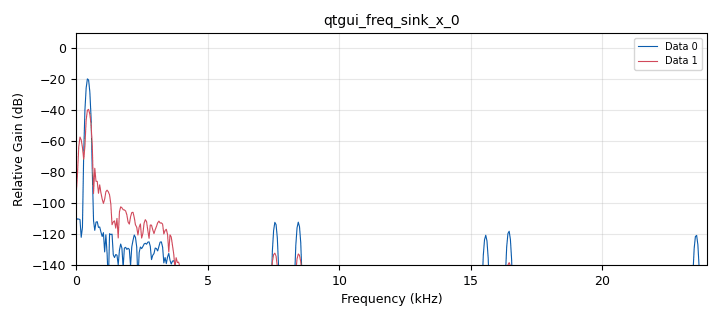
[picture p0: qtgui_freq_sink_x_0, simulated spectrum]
options:
  parameters:
    generate_options: qt_gui
    id: audiocoder
    output_language: python
    title: Not titled yet
  states: {}

blocks:
- name: f
  id: variable_qtgui_range
  parameters:
    start: '50'
    step: '1'
    stop: '1000'
    value: '440'
  states: {}
- name: samp_rate
  id: variable
  parameters:
    value: '8000'
  states: {}
- name: x
  id: variable_qtgui_range
  parameters:
    start: '0'
    step: '.01'
    stop: '1'
    value: '.5'
  states: {}
- name: analog_sig_source_x_0
  id: analog_sig_source_x
  parameters:
    amp: '20000'
    freq: f
    offset: '0'
    phase: '0'
    samp_rate: samp_rate
    type: short
    waveform: analog.GR_COS_WAVE
  states: {}
- name: audio_sink_0
  id: audio_sink
  parameters:
    num_inputs: '2'
    samp_rate: samp_rate*6
  states: {}
- name: blocks_multiply_const_vxx_0
  id: blocks_multiply_const_vxx
  parameters:
    const: 1-x
    type: float
  states: {}
- name: blocks_multiply_const_vxx_0_0
  id: blocks_multiply_const_vxx
  parameters:
    const: x
    type: float
  states: {}
- name: blocks_short_to_float_0
  id: blocks_short_to_float
  parameters:
    scale: '32767'
  states: {}
- name: blocks_short_to_float_0_0
  id: blocks_short_to_float
  parameters:
    scale: '32767'
  states: {}
- name: blocks_short_to_float_0_1
  id: blocks_short_to_float
  parameters:
    scale: '32767'
  states: {}
- name: qtgui_freq_sink_x_0
  id: qtgui_freq_sink_x
  parameters:
    bw: samp_rate*6
    fc: '0'
    fftsize: '1024'
    freqhalf: 'False'
    nconnections: '2'
    type: float
  states: {}
- name: rational_resampler_xxx_0
  id: rational_resampler_xxx
  parameters:
    decim: '1'
    interp: '6'
    type: fff
  states: {}
- name: rational_resampler_xxx_0_0
  id: rational_resampler_xxx
  parameters:
    decim: '1'
    interp: '6'
    type: fff
  states: {}
- name: rational_resampler_xxx_0_1
  id: rational_resampler_xxx
  parameters:
    decim: '1'
    interp: '6'
    type: fff
  states: {}
- name: vocoder_codec2_decode_ps_0
  id: vocoder_codec2_decode_ps
  parameters:
    mode: codec2.MODE_3200
  states: {}
- name: vocoder_codec2_encode_sp_0
  id: vocoder_codec2_encode_sp
  parameters:
    mode: codec2.MODE_3200
  states: {}

connections:
- [analog_sig_source_x_0, '0', blocks_short_to_float_0_0, '0']
- [analog_sig_source_x_0, '0', blocks_short_to_float_0_1, '0']
- [analog_sig_source_x_0, '0', vocoder_codec2_encode_sp_0, '0']
- [blocks_multiply_const_vxx_0, '0', audio_sink_0, '1']
- [blocks_multiply_const_vxx_0_0, '0', audio_sink_0, '0']
- [blocks_short_to_float_0, '0', rational_resampler_xxx_0, '0']
- [blocks_short_to_float_0_0, '0', rational_resampler_xxx_0_0, '0']
- [blocks_short_to_float_0_1, '0', rational_resampler_xxx_0_1, '0']
- [rational_resampler_xxx_0, '0', blocks_multiply_const_vxx_0_0, '0']
- [rational_resampler_xxx_0, '0', qtgui_freq_sink_x_0, '1']
- [rational_resampler_xxx_0_0, '0', qtgui_freq_sink_x_0, '0']
- [rational_resampler_xxx_0_1, '0', blocks_multiply_const_vxx_0, '0']
- [vocoder_codec2_decode_ps_0, '0', blocks_short_to_float_0, '0']
- [vocoder_codec2_encode_sp_0, '0', vocoder_codec2_decode_ps_0, '0']

metadata:
  file_format: 1
  grc_version: 3.10.10.0
